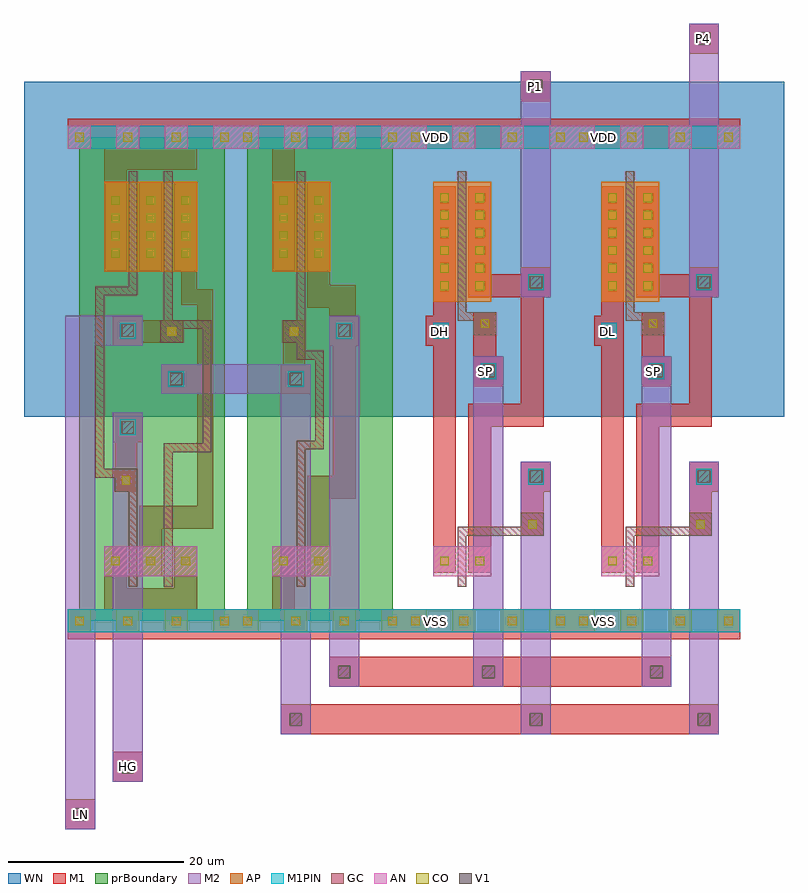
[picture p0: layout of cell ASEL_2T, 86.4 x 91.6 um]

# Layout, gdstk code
import gdstk
lib = gdstk.Library(unit=1e-6, precision=1e-07)
def R(c, l, rs):  # rectangles x0, y0, x1, y1
    for r in rs: c.add(gdstk.rectangle(r[:2], r[2:], *l))
def A(c, l, x, y, w, h, nx, ny, dx, dy):  # array of equal rectangles
    R(c, l, [(x+i*dx, y+j*dy, x+i*dx+w, y+j*dy+h) for i in range(nx) for j in range(ny)])
def P(c, l, *ps):  # polygons
    for p in ps: c.add(gdstk.Polygon(p, *l))
AP = (3, 1)
AN = (3, 2)
GC = (8, 1)
CO = (11, 0)
M1 = (13, 0)
V1 = (19, 0)
M2 = (20, 0)
M1PIN = (48, 1)
WN = (140, 0)
prBoundary = (235, 0)

asel_2t = lib.new_cell('ASEL_2T')
A(asel_2t, AP, -14.1, 10.8, 2.6, 2.6, 4, 1, 5.5, 0)
A(asel_2t, AP, 5, 10.8, 2.6, 2.6, 4, 1, 5.5, 0)
A(asel_2t, AP, 24.1, 10.8, 2.6, 2.6, 4, 1, 5.5, 0)
A(asel_2t, AP, 43.2, 10.8, 2.6, 2.6, 4, 1, 5.5, 0)
R(asel_2t, AP, [(27.4,48.4,34,62), (46.5,48.4,53.1,62), (-10,51.8,0.6,62), (-10,51.8,0.6,62), (9.1,51.8,15.7,62), (9.1,51.8,15.7,62)])
A(asel_2t, AN, -14.1, 65.8, 2.6, 2.6, 4, 1, 5.5, 0)
A(asel_2t, AN, 5, 65.8, 2.6, 2.6, 4, 1, 5.5, 0)
A(asel_2t, AN, 24.1, 65.8, 2.6, 2.6, 4, 1, 5.5, 0)
A(asel_2t, AN, 43.2, 65.8, 2.6, 2.6, 4, 1, 5.5, 0)
R(asel_2t, AN, [(-10,17.2,0.6,20.6), (9.1,17.2,15.7,20.6), (27.4,17.2,34,20.6), (46.5,17.2,53.1,20.6)])
R(asel_2t, GC, [(30.2,21.8,37.4,22.8), (37.4,21.8,40,24.4), (49.3,21.8,56.5,22.8), (56.5,21.8,59.1,24.4), (32,44.6,34.6,47.2), (51.1,44.6,53.7,47.2), (30.2,46.2,32,47.2), (49.3,46.2,51.1,47.2)])
P(asel_2t, GC, [(-3.2,16),(-3.2,32.3),(1.2,32.3),(1.2,45.3),(-1,45.3),(-1,43.7),(-3.6,43.7),(-3.6,46.3),(-3.2,46.3),(-3.2,63.2),(-2.2,63.2),(-2.2,46.3),(2.2,46.3),(2.2,31.3),(-2.2,31.3),(-2.2,16)],
  [(-7.2,16),(-7.2,26.8),(-8.8,26.8),(-8.8,28.4),(-11,28.4),(-11,50.1),(-7.2,50.1),(-7.2,63.2),(-6.2,63.2),(-6.2,49.1),(-10,49.1),(-10,29.4),(-6.2,29.4),(-6.2,16)],
  [(11.9,16),(11.9,32.6),(14,32.6),(14,41.8),(11.9,41.8),(11.9,43.7),(10.3,43.7),(10.3,46.3),(11.9,46.3),(11.9,63.2),(12.9,63.2),(12.9,42.8),(15,42.8),(15,31.6),(12.9,31.6),(12.9,16)])
A(asel_2t, CO, -13.3, 11.6, 1, 1, 4, 2, 5.5, 55)
A(asel_2t, CO, 5.8, 11.6, 1, 1, 4, 2, 5.5, 55)
A(asel_2t, CO, 24.9, 11.6, 1, 1, 4, 2, 5.5, 55)
A(asel_2t, CO, 44, 11.6, 1, 1, 4, 2, 5.5, 55)
A(asel_2t, CO, 28.2, 49.7, 1, 1, 1, 6, 0, 2)
A(asel_2t, CO, 32.2, 49.7, 1, 1, 1, 6, 0, 2)
A(asel_2t, CO, 47.3, 49.7, 1, 1, 1, 6, 0, 2)
A(asel_2t, CO, 51.3, 49.7, 1, 1, 1, 6, 0, 2)
A(asel_2t, CO, -1.2, 53.4, 1, 1, 1, 4, 0, 2)
A(asel_2t, CO, 9.9, 53.4, 1, 1, 1, 4, 0, 2)
A(asel_2t, CO, 13.9, 53.4, 1, 1, 1, 4, 0, 2)
R(asel_2t, CO, [(-9.2,18.4,-8.2,19.4), (-5.2,18.4,-4.2,19.4), (-5.2,18.4,-4.2,19.4), (-1.2,18.4,-0.2,19.4), (9.9,18.4,10.9,19.4), (13.9,18.4,14.9,19.4), (28.2,18.4,29.2,19.4), (32.2,18.4,33.2,19.4), (47.3,18.4,48.3,19.4), (51.3,18.4,52.3,19.4), (38.2,22.6,39.2,23.6), (57.3,22.6,58.3,23.6), (-8,27.6,-7,28.6), (-2.8,44.5,-1.8,45.5), (11.1,44.5,12.1,45.5), (32.8,45.4,33.8,46.4), (51.9,45.4,52.9,46.4), (-9.2,53.4,-8.2,54.4), (-9.2,53.4,-8.2,54.4), (-9.2,53.4,-8.2,54.4), (-5.2,53.4,-4.2,54.4), (-5.2,53.4,-4.2,54.4), (-5.2,53.4,-4.2,54.4), (-5.2,53.4,-4.2,54.4), (-9.2,55.4,-8.2,56.4), (-9.2,55.4,-8.2,56.4), (-9.2,55.4,-8.2,56.4), (-5.2,55.4,-4.2,56.4), (-5.2,55.4,-4.2,56.4), (-5.2,55.4,-4.2,56.4), (-5.2,55.4,-4.2,56.4), (-9.2,57.4,-8.2,58.4), (-9.2,57.4,-8.2,58.4), (-9.2,57.4,-8.2,58.4), (-5.2,57.4,-4.2,58.4), (-5.2,57.4,-4.2,58.4), (-5.2,57.4,-4.2,58.4), (-5.2,57.4,-4.2,58.4), (-9.2,59.4,-8.2,60.4), (-9.2,59.4,-8.2,60.4), (-9.2,59.4,-8.2,60.4), (-5.2,59.4,-4.2,60.4), (-5.2,59.4,-4.2,60.4), (-5.2,59.4,-4.2,60.4), (-5.2,59.4,-4.2,60.4)])
R(asel_2t, M1, [(-14.4,-11.6,-11,-8.2), (-9,-6.2,-5.6,-2.8), (10.1,-0.8,13.5,2.6), (13.5,-0.8,37.4,2.6), (37.4,-0.8,40.8,2.6), (40.8,-0.8,56.5,2.6), (56.5,-0.8,59.9,2.6), (15.6,4.6,19,8), (19,4.6,32,8), (32,4.6,35.4,8), (35.4,4.6,51.1,8), (51.1,4.6,54.5,8), (-14.1,10,62.3,10.8), (24.1,10.8,43.2,13.4), (43.2,10.8,62.3,13.4), (27.4,17.6,30,20.2), (31.4,17.6,34,20.2), (46.5,17.6,49.1,20.2), (50.5,17.6,53.1,20.2), (27.4,20.2,30,43.4), (31.4,20.2,34,34.2), (46.5,20.2,49.1,43.4), (50.5,20.2,53.1,34.2), (37.4,21.8,40,26.8), (56.5,21.8,59.1,26.8), (37.4,26.8,40.8,30.2), (56.5,26.8,59.9,30.2), (31.4,34.2,37.4,36.8), (37.4,34.2,40,48.9), (50.5,34.2,56.5,36.8), (56.5,34.2,59.1,48.9), (32,38.8,35.4,42.2), (51.1,38.8,54.5,42.2), (32,42.2,34.6,47.2), (51.1,42.2,53.7,47.2), (26.6,43.4,30,46.8), (45.7,43.4,49.1,46.8), (27.4,46.8,30,48.9), (46.5,46.8,49.1,48.9), (27.4,48.9,30,61.5), (31.4,48.9,34,61.5), (34,48.9,37.4,51.5), (37.4,48.9,40.8,52.3), (46.5,48.9,49.1,61.5), (50.5,48.9,53.1,61.5), (53.1,48.9,56.5,51.5), (56.5,48.9,59.9,52.3), (-6,51.8,-3.4,62), (24.1,65.8,43.2,68.4), (43.2,65.8,62.3,68.4), (-14.1,68.4,62.3,69.2), (37.4,71.2,40.8,74.6), (56.5,76.6,59.9,80)])
P(asel_2t, M1, [(-10,51.8),(-10,65.8),(-14.1,65.8),(-14.1,68.4),(5,68.4),(5,65.8),(0.6,65.8),(0.6,63.4),(-7.4,63.4),(-7.4,51.8)],
  [(-6,17.2),(-6,25.2),(0.6,25.2),(0.6,37.9),(-3.5,37.9),(-3.5,41.3),(0.6,41.3),(0.6,48),(-1.2,48),(-1.2,51.8),(-2,51.8),(-2,62),(0.6,62),(0.6,49.8),(2.4,49.8),(2.4,22.6),(-3.4,22.6),(-3.4,17.2)],
  [(-9,43.4),(-9,46.8),(-5.6,46.8),(-5.6,46.3),(-1,46.3),(-1,43.7),(-5.6,43.7),(-5.6,43.4)],
  [(-8.8,26.8),(-8.8,32.4),(-9,32.4),(-9,35.8),(-5.6,35.8),(-5.6,32.4),(-6.2,32.4),(-6.2,26.8)],
  [(-14.1,10.8),(-14.1,13.4),(-10,13.4),(-10,20.6),(-7.4,20.6),(-7.4,15.8),(-2,15.8),(-2,20.6),(0.6,20.6),(0.6,13.4),(5,13.4),(5,10.8)],
  [(9.1,51.8),(9.1,65.8),(5,65.8),(5,68.4),(24.1,68.4),(24.1,65.8),(11.7,65.8),(11.7,51.8)],
  [(13.1,17.2),(13.1,28.6),(16,28.6),(16,43.4),(15.6,43.4),(15.6,47.7),(13.1,47.7),(13.1,62),(15.7,62),(15.7,50.3),(18.6,50.3),(18.6,46.8),(19,46.8),(19,43.4),(18.6,43.4),(18.6,26),(15.7,26),(15.7,17.2)],
  [(10.1,37.9),(10.1,41.3),(10.3,41.3),(10.3,46.3),(12.9,46.3),(12.9,41.3),(13.5,41.3),(13.5,37.9)],
  [(5,10.8),(5,13.4),(9.1,13.4),(9.1,20.6),(11.7,20.6),(11.7,13.4),(24.1,13.4),(24.1,10.8)])
R(asel_2t, V1, [(-13.4,-10.6,-12,-9.2), (-8,-5.2,-6.6,-3.8), (11.1,0.2,12.5,1.6), (38.4,0.2,39.8,1.6), (57.5,0.2,58.9,1.6), (16.6,5.6,18,7), (33,5.6,34.4,7), (52.1,5.6,53.5,7), (38.4,27.8,39.8,29.2), (57.5,27.8,58.9,29.2), (-8,33.4,-6.6,34.8), (-2.5,38.9,-1.1,40.3), (11.1,38.9,12.5,40.3), (33,39.8,34.4,41.2), (52.1,39.8,53.5,41.2), (-8,44.4,-6.6,45.8), (16.6,44.4,18,45.8), (38.4,49.9,39.8,51.3), (57.5,49.9,58.9,51.3), (38.4,72.2,39.8,73.6), (57.5,77.6,58.9,79)])
R(asel_2t, M2, [(-14.4,-11.6,-11,-8.2), (-14.4,-8.2,-11,46.8), (-9,-6.2,-5.6,-2.8), (-9,-2.8,-5.6,35.8), (10.1,-0.8,13.5,2.6), (37.4,-0.8,40.8,2.6), (56.5,-0.8,59.9,2.6), (10.1,2.6,13.5,41.3), (37.4,2.6,40.8,30.2), (56.5,2.6,59.9,30.2), (15.6,4.6,19,8), (32,4.6,35.4,8), (51.1,4.6,54.5,8), (15.6,8,19,46.8), (32,8,35.4,42.2), (51.1,8,54.5,42.2), (-3.5,37.9,10.1,41.3), (-11,43.4,-5.6,46.8), (37.4,48.9,40.8,71.2), (56.5,48.9,59.9,76.6), (37.4,71.2,40.8,74.6), (56.5,76.6,59.9,80)])
A(asel_2t, M1PIN, -14.1, 10.8, 19.1, 2.6, 4, 2, 19.1, 55)
R(asel_2t, M1PIN, [(38.2,27.6,40,29.4), (57.3,27.6,59.1,29.4), (-8.2,33.2,-6.4,35), (-2.7,38.7,-0.9,40.5), (10.9,38.7,12.7,40.5), (32.8,39.6,34.6,41.4), (51.9,39.6,53.7,41.4), (-8.2,44.2,-6.4,46), (16.4,44.2,18.2,46), (27.4,44.2,29.2,46), (46.5,44.2,48.3,46), (38.2,49.7,40,51.5), (57.3,49.7,59.1,51.5)])
A(asel_2t, WN, -19.1, 35.3, 29.1, 38.1, 4, 1, 19.1, 0)
R(asel_2t, prBoundary, [(-12.8,12.1,3.7,67.1), (6.3,12.1,22.8,67.1)])
asel_2t.add(gdstk.FlexPath([(49.8,47.2),(49.8,63.2)], 1, ends="flush", simple_path=True, layer=8, datatype=1))  # GC
asel_2t.add(gdstk.FlexPath([(49.8,16),(49.8,21.8)], 1, ends="flush", simple_path=True, layer=8, datatype=1))  # GC
asel_2t.add(gdstk.FlexPath([(30.7,47.2),(30.7,63.2)], 1, ends="flush", simple_path=True, layer=8, datatype=1))  # GC
asel_2t.add(gdstk.FlexPath([(30.7,16),(30.7,21.8)], 1, ends="flush", simple_path=True, layer=8, datatype=1))  # GC
asel_2t.add(gdstk.Label('P4', (58.2,78.3), layer=48, texttype=0))
asel_2t.add(gdstk.Label('P1', (39.1,72.9), layer=48, texttype=0))
asel_2t.add(gdstk.Label('LN', (-12.7,-9.9), layer=48, texttype=0))
asel_2t.add(gdstk.Label('HG', (-7.3,-4.5), layer=48, texttype=0))
asel_2t.add(gdstk.Label('VDD', (46.8,67), layer=48, texttype=0))
asel_2t.add(gdstk.Label('VSS', (46.8,12), layer=48, texttype=0))
asel_2t.add(gdstk.Label('SP', (52.5,40.4), layer=48, texttype=0))
asel_2t.add(gdstk.Label('VDD', (27.7,67), layer=48, texttype=0))
asel_2t.add(gdstk.Label('VSS', (27.7,12), layer=48, texttype=0))
asel_2t.add(gdstk.Label('SP', (33.4,40.4), layer=48, texttype=0))
asel_2t.add(gdstk.Label('DL', (47.2,45), layer=48, texttype=0))
asel_2t.add(gdstk.Label('DH', (28.1,45), layer=48, texttype=0))

lib.write_gds('ASEL_2T.gds')
